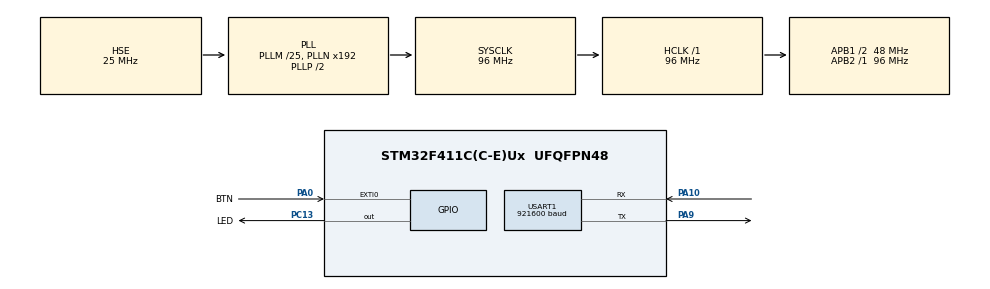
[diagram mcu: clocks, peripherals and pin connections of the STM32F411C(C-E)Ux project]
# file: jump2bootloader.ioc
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Mcu.Family=STM32F4
Mcu.Name=STM32F411C(C-E)Ux
Mcu.Package=UFQFPN48
NVIC.EXTI0_IRQn=true\:0\:0\:false\:false\:true\:true\:true\:true
NVIC.PriorityGroup=NVIC_PRIORITYGROUP_4
PA0-WKUP.GPIO_Label=BTN
PA0-WKUP.GPIO_ModeDefaultEXTI=GPIO_MODE_IT_RISING_FALLING
PA0-WKUP.GPIO_PuPd=GPIO_PULLUP
PA0-WKUP.Signal=GPXTI0
PA10.Mode=Asynchronous
PA10.Signal=USART1_RX
PA13.Mode=Serial_Wire
PA13.Signal=SYS_JTMS-SWDIO
PA14.Mode=Serial_Wire
PA14.Signal=SYS_JTCK-SWCLK
PA9.Mode=Asynchronous
PA9.Signal=USART1_TX
PC13-ANTI_TAMP.GPIO_Label=LED
PC13-ANTI_TAMP.GPIO_ModeDefaultOutputPP=GPIO_MODE_OUTPUT_OD
PC13-ANTI_TAMP.PinState=GPIO_PIN_SET
PC13-ANTI_TAMP.Signal=GPIO_Output
PH0\ -\ OSC_IN.Mode=HSE-External-Oscillator
PH0\ -\ OSC_IN.Signal=RCC_OSC_IN
PH1\ -\ OSC_OUT.Mode=HSE-External-Oscillator
PH1\ -\ OSC_OUT.Signal=RCC_OSC_OUT
ProjectManager.HeapSize=0x400
ProjectManager.StackSize=0x800
ProjectManager.TargetToolchain=STM32CubeIDE
RCC.48MHZClocksFreq_Value=48000000
RCC.AHBFreq_Value=96000000
RCC.APB1CLKDivider=RCC_HCLK_DIV2
RCC.APB1Freq_Value=48000000
RCC.APB1TimFreq_Value=96000000
RCC.APB2Freq_Value=96000000
RCC.APB2TimFreq_Value=96000000
RCC.CortexFreq_Value=96000000
RCC.HCLKFreq_Value=96000000
RCC.HSE_VALUE=25000000
RCC.HSI_VALUE=16000000
RCC.LSE_VALUE=32768
RCC.PLLM=25
RCC.PLLSourceVirtual=RCC_PLLSOURCE_HSE
RCC.SYSCLKFreq_VALUE=96000000
RCC.SYSCLKSource=RCC_SYSCLKSOURCE_PLLCLK
RCC.VCOOutputFreq_Value=192000000
USART1.BaudRate=921600
USART1.VirtualMode=VM_ASYNC
board=custom

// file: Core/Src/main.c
/* USER CODE BEGIN Header */
/**
 ******************************************************************************
 * @file           : main.c
 * @brief          : Main program body
 ******************************************************************************
 * @attention
 *
 * <h2><center>&copy; Copyright (c) 2022 Lars Boegild Thomsen <lbthomsen@gmail.com>
 * All rights reserved.</center></h2>
 *
 * This software component is licensed under MIT license,
 * the "License"; You may not use this file except in compliance with the
 * License. You may obtain a copy of the License at:
 *                        opensource.org/licenses/MIT
 *
 ******************************************************************************
 */
/* USER CODE END Header */
#include "main.h"

/* USER CODE BEGIN Includes */
#include "stdio.h"
/* USER CODE END Includes */

/* USER CODE BEGIN PTD */
typedef void (*pFunction)(void);
/* USER CODE END PTD */

/* USER CODE BEGIN PD */
#define BOOTLOADER_FLAG_VALUE 0xDEADBEEF
#define BOOTLOADER_FLAG_OFFSET 50
#define BOOTLOADER_ADDRESS 0x1FFF0000
/* USER CODE END PD */

UART_HandleTypeDef huart1;

/* USER CODE BEGIN PV */
extern int _estack;
uint32_t *bootloader_flag;
uint32_t push_count = 0;
pFunction JumpToApplication;
uint32_t JumpAddress;
/* USER CODE END PV */

void SystemClock_Config(void);
static void MX_GPIO_Init(void);
static void MX_USART1_UART_Init(void);

/* USER CODE BEGIN 0 */

// Send printf to uart1
int _write(int fd, char *ptr, int len) {
    HAL_StatusTypeDef hstatus;

    if (fd == 1 || fd == 2) {
        hstatus = HAL_UART_Transmit(&huart1, (uint8_t*) ptr, len, HAL_MAX_DELAY);
        if (hstatus == HAL_OK)
            return len;
        else
            return -1;
    }
    return -1;
}

void HAL_GPIO_EXTI_Callback(uint16_t GPIO_Pin) {
    if (GPIO_Pin == BTN_Pin) // If the button
    {
        GPIO_PinState pinState = HAL_GPIO_ReadPin(BTN_GPIO_Port, BTN_Pin);
        if (pinState == GPIO_PIN_RESET) {
            push_count = HAL_GetTick();
        } else {
            if (HAL_GetTick() - push_count > 1000) {
                // This is going to mess up the stack, but as we go straight to a system reset we do not care
                __disable_irq(); // may or may not be relevant
                *bootloader_flag = BOOTLOADER_FLAG_VALUE;
                HAL_NVIC_SystemReset();
            }
            push_count = 0;
        }

    }
}
/* USER CODE END 0 */

int main(void) {
    /* USER CODE BEGIN 1 */

    // Very naughty but at this point the stack has not grown more than 15 bytes, so this is safe
    bootloader_flag = (uint32_t*) (&_estack - BOOTLOADER_FLAG_OFFSET); // below top of stack

    if (*bootloader_flag == BOOTLOADER_FLAG_VALUE) {

        *bootloader_flag = 0;

        /* Jump to system memory bootloader */
        JumpAddress = *(__IO uint32_t*) (BOOTLOADER_ADDRESS + 4);
        JumpToApplication = (pFunction) JumpAddress;
        JumpToApplication();

    }

    *bootloader_flag = 0; // So next boot won't be affected

    /* USER CODE END 1 */

    /* MCU Configuration--------------------------------------------------------*/

    /* Reset of all peripherals, Initializes the Flash interface and the Systick. */
    HAL_Init();

    /* Configure the system clock */
    SystemClock_Config();

    /* Initialize all configured peripherals */
    MX_GPIO_Init();
    MX_USART1_UART_Init();

    /* Infinite loop */
    /* USER CODE BEGIN WHILE */

    uint32_t then = 0, now = 0;

    while (1) {

        now = HAL_GetTick();
        if (now - then >= 500) {

            HAL_GPIO_TogglePin(LED_GPIO_Port, LED_Pin);

            then = now;
        }

        /* USER CODE END WHILE */

    }
}

void SystemClock_Config(void) {
    RCC_OscInitTypeDef RCC_OscInitStruct = { 0 };
    RCC_ClkInitTypeDef RCC_ClkInitStruct = { 0 };

    /** Configure the main internal regulator output voltage
     */
    __HAL_RCC_PWR_CLK_ENABLE();
    __HAL_PWR_VOLTAGESCALING_CONFIG(PWR_REGULATOR_VOLTAGE_SCALE1);

    /** Initializes the RCC Oscillators according to the specified parameters
     * in the RCC_OscInitTypeDef structure.
     */
    RCC_OscInitStruct.OscillatorType = RCC_OSCILLATORTYPE_HSE;
    RCC_OscInitStruct.HSEState = RCC_HSE_ON;
    RCC_OscInitStruct.PLL.PLLState = RCC_PLL_ON;
    RCC_OscInitStruct.PLL.PLLSource = RCC_PLLSOURCE_HSE;
    RCC_OscInitStruct.PLL.PLLM = 25;
    RCC_OscInitStruct.PLL.PLLN = 192;
    RCC_OscInitStruct.PLL.PLLP = RCC_PLLP_DIV2;
    RCC_OscInitStruct.PLL.PLLQ = 4;
    if (HAL_RCC_OscConfig(&RCC_OscInitStruct) != HAL_OK) {
        Error_Handler();
    }

    /** Initializes the CPU, AHB and APB buses clocks
     */
    RCC_ClkInitStruct.ClockType = RCC_CLOCKTYPE_HCLK | RCC_CLOCKTYPE_SYSCLK | RCC_CLOCKTYPE_PCLK1 | RCC_CLOCKTYPE_PCLK2;
    RCC_ClkInitStruct.SYSCLKSource = RCC_SYSCLKSOURCE_PLLCLK;
    RCC_ClkInitStruct.AHBCLKDivider = RCC_SYSCLK_DIV1;
    RCC_ClkInitStruct.APB1CLKDivider = RCC_HCLK_DIV2;
    RCC_ClkInitStruct.APB2CLKDivider = RCC_HCLK_DIV1;

    if (HAL_RCC_ClockConfig(&RCC_ClkInitStruct, FLASH_LATENCY_3) != HAL_OK) {
        Error_Handler();
    }
}

static void MX_USART1_UART_Init(void) {

    huart1.Instance = USART1;
    huart1.Init.BaudRate = 921600;
    huart1.Init.WordLength = UART_WORDLENGTH_8B;
    huart1.Init.StopBits = UART_STOPBITS_1;
    huart1.Init.Parity = UART_PARITY_NONE;
    huart1.Init.Mode = UART_MODE_TX_RX;
    huart1.Init.HwFlowCtl = UART_HWCONTROL_NONE;
    huart1.Init.OverSampling = UART_OVERSAMPLING_16;
    if (HAL_UART_Init(&huart1) != HAL_OK) {
        Error_Handler();
    }

}

static void MX_GPIO_Init(void) {
    GPIO_InitTypeDef GPIO_InitStruct = { 0 };

    /* GPIO Ports Clock Enable */
    __HAL_RCC_GPIOC_CLK_ENABLE();
    __HAL_RCC_GPIOH_CLK_ENABLE();
    __HAL_RCC_GPIOA_CLK_ENABLE();

    /*Configure GPIO pin Output Level */
    HAL_GPIO_WritePin(LED_GPIO_Port, LED_Pin, GPIO_PIN_SET);

    /*Configure GPIO pin : LED_Pin */
    GPIO_InitStruct.Pin = LED_Pin;
    GPIO_InitStruct.Mode = GPIO_MODE_OUTPUT_OD;
    GPIO_InitStruct.Pull = GPIO_NOPULL;
    GPIO_InitStruct.Speed = GPIO_SPEED_FREQ_LOW;
    HAL_GPIO_Init(LED_GPIO_Port, &GPIO_InitStruct);

    /*Configure GPIO pin : BTN_Pin */
    GPIO_InitStruct.Pin = BTN_Pin;
    GPIO_InitStruct.Mode = GPIO_MODE_IT_RISING_FALLING;
    GPIO_InitStruct.Pull = GPIO_PULLUP;
    HAL_GPIO_Init(BTN_GPIO_Port, &GPIO_InitStruct);

    /* EXTI interrupt init*/
    HAL_NVIC_SetPriority(EXTI0_IRQn, 0, 0);
    HAL_NVIC_EnableIRQ(EXTI0_IRQn);

}

void Error_Handler(void) {
    __disable_irq();
    while (1) {
    }
}
